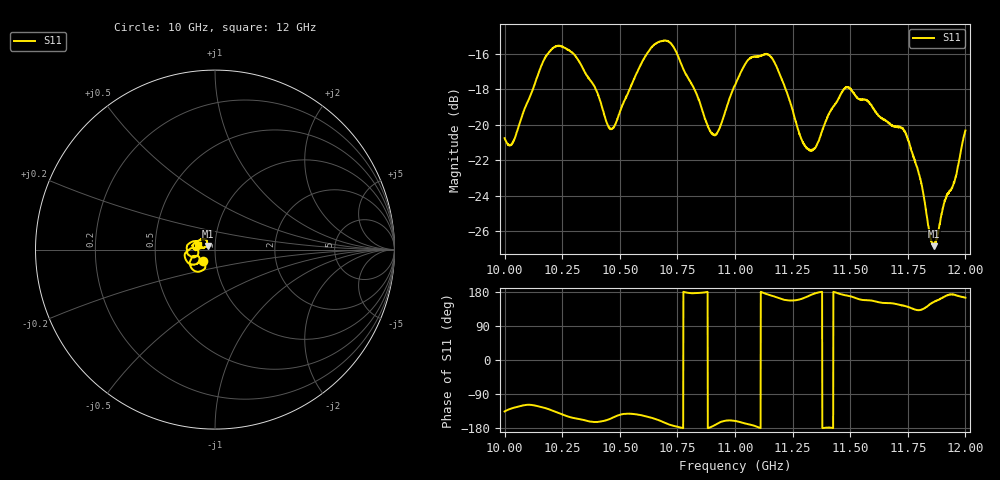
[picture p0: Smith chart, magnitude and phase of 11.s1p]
[Version] 2.0
! Rohde & Schwarz Vector Network Analyzer
! Rohde-Schwarz,ZNL20-2Port,1323001220200009,1.71.1.10-23.02.1.238
! Port Assignments:
! Nominal Port -> Actual Test Port
!  1 -> 1
! Created: GMT 2024-08-27 13:53:06
# Hz S DB R 50
[Number of Ports] 1
! freq[Hz]  S11[mag dB]  S11[ang]
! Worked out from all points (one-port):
!   2001 points, 10 GHz to 12 GHz, reference 50 ohm
!   lowest |S11| = -26.8 dB at 11.86 GHz (marker M1), VSWR 1.10, Z = 46.1 + j1.9 ohm
!   |S11| at or under -10 dB: start of sweep to end of sweep
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[Number of Frequencies] 28
[Network Data]
1e10  -20.75 -135.7
1.0038e10  -20.93 -126.3
1.0178e10  -16.16 -127.2
1.025e10  -15.59 -143.6
1.0386e10  -17.76 -163.4
1.0455e10  -20.15 -156.0
1.05e10  -19.28 -144.5
1.0644e10  -15.55 -153.7
1.0707e10  -15.28 -168.7
1.075e10  -16.04 -176.2
1.0906e10  -20.52 -173.9
1.0931e10  -20.23 -165.5
1.1e10  -17.76 -160.7
1.1061e10  -16.29 -170.1
1.1143e10  -16.03 172.7
1.1181e10  -16.73 165.4
1.125e10  -19.16 156.9
1.1294e10  -20.99 162.4
1.1335e10  -21.42 173.1
1.1465e10  -18.16 172.7
1.15e10  -17.95 168.3
1.175e10  -20.83 140.0
1.1802e10  -22.93 131.7
1.1846e10  -26.16 147.4
1.1863e10  -26.83 153.1
1.1911e10  -24.28 167.5
1.1954e10  -23.13 171.9
1.2e10  -20.32 164.4
[End]
